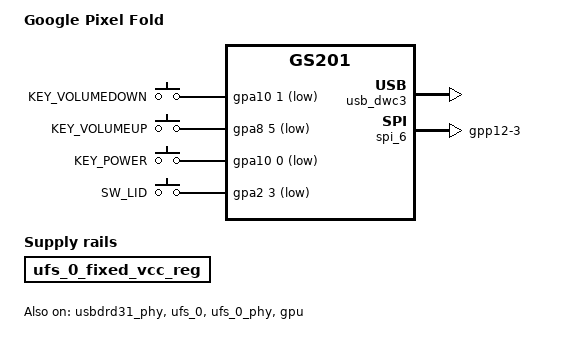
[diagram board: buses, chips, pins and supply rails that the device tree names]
// SPDX-License-Identifier: GPL-2.0-only
/*
 * Google Pixel Fold (felix).
 *
 * Same GS201 silicon as the Pixel 7 Pro. This board file brings up USB,
 * the cover framebuffer the bootloader is already scanning, UFS, the
 * GPU, the volume keys, the hinge hall sensor, the cover touch rails,
 * and the cover touch controller. The controller stays disabled until
 * a bring-up overlay enables it. This file does not describe either
 * panel or the inner touch controller. The inner splash is reserved
 * and described as a second simple framebuffer. It does not drive
 * the panel.
 */

/dts-v1/;

#include <dt-bindings/input/input.h>
#include "gs201.dtsi"

/ {
	model = "Google Pixel Fold";
	compatible = "google,gs201-felix", "google,gs201";

	/*
	 * ABL matches (product id 0x09855000 | major rev). This phone is
	 * GS201 MP1.0, package mode 0, SoC rev 2: the same B0 id as cheetah.
	 * The image packer appends a second DTB with 0x09855000.
	 */
	soc_id = <0x09855001 0x0>;

	chosen {
		/*
		 * ABL requires bootargs and appends its own, including
		 * console=null. Nothing here writes a display register. The
		 * cover framebuffer is the plane read from DPP2 (1080x2092 at
		 * 0xfc000000). The inner framebuffer is the plane read from DPP0
		 * (1840x2208 at 0xfac00000). The cover node stays first so it
		 * remains the first framebuffer device.
		 */
		bootargs = "console=tty0 panic=10 clk_ignore_unused pd_ignore_unused rdinit=/init";
		#address-cells = <2>;
		#size-cells = <1>;
		ranges;

		framebuffer0: framebuffer@fc000000 {
			compatible = "simple-framebuffer";
			memory-region = <&cont_splash_mem>;
			width = <1080>;
			height = <2092>;
			stride = <(1080 * 4)>;
			format = "a8r8g8b8";
		};

		framebuffer1: framebuffer@fac00000 {
			compatible = "simple-framebuffer";
			reg = <0x0 0xfac00000 (1840 * 2208 * 4)>;
			memory-region = <&inner_splash_mem>;
			width = <1840>;
			height = <2208>;
			stride = <(1840 * 4)>;
			format = "a8r8g8b8";
		};
	};

	reserved-memory {
		#address-cells = <2>;
		#size-cells = <1>;
		ranges;

		/*
		 * Inner splash. DECON0 scans 1840x2208 from here. Reserved so the
		 * kernel does not allocate it. The inner display node stays disabled.
		 */
		inner_splash_mem: splash@fac00000 {
			reg = <0x0 0xfac00000 (1840 * 2208 * 4)>;
			no-map;
		};

		cont_splash_mem: splash@fc000000 {
			reg = <0x0 0xfc000000 (1080 * 2092 * 4)>;
			no-map;
		};
	};

	/*
	 * UFS VCC. The bootloader leaves this rail on. There is no gs201
	 * GPIO driver yet, so describe it as an always-on fixed regulator,
	 * as on the Pixel 7 Pro.
	 */
	ufs_0_fixed_vcc_reg: regulator-ufs-vcc {
		compatible = "regulator-fixed";
		regulator-name = "ufs-vcc";
		regulator-always-on;
		regulator-boot-on;
	};

	/*
	 * Volume down is gpa10-1 with a pull-up. Volume up is gpa8-5 with
	 * no pull. Power is gpa10-0, the S2MPG12 PWRONB line, with a
	 * pull-up. The hinge hall is the factory hall_sensor on gpa2-3,
	 * active-low with no pull. All four are active-low. The PMIC's
	 * own long-press reset is unaffected.
	 */
	gpio-keys {
		compatible = "gpio-keys";
		pinctrl-names = "default";
		pinctrl-0 = <&key_voldown>, <&key_volup>, <&key_power>, <&hall_lid>;

		button-vol-down {
			label = "KEY_VOLUMEDOWN";
			linux,code = <KEY_VOLUMEDOWN>;
			gpios = <&gpa10 1 GPIO_ACTIVE_LOW>;
			wakeup-source;
		};

		button-vol-up {
			label = "KEY_VOLUMEUP";
			linux,code = <KEY_VOLUMEUP>;
			gpios = <&gpa8 5 GPIO_ACTIVE_LOW>;
			wakeup-source;
		};

		button-power {
			label = "KEY_POWER";
			linux,code = <KEY_POWER>;
			gpios = <&gpa10 0 GPIO_ACTIVE_LOW>;
			wakeup-source;
		};

		switch-lid {
			label = "SW_LID";
			linux,input-type = <EV_SW>;
			linux,code = <SW_LID>;
			gpios = <&gpa2 3 GPIO_ACTIVE_LOW>;
			linux,can-disable;
			wakeup-source;
		};
	};
};

&usbdrd31_phy {
	status = "okay";
};

&usb_dwc3 {
	status = "okay";
};

&ufs_0 {
	vcc-supply = <&ufs_0_fixed_vcc_reg>;
	status = "okay";
};

&ufs_0_phy {
	status = "okay";
};

&gpu {
	/* No mali-supply: the G3D rails follow the PMU power domain and ACPM. */
	status = "okay";
};

&pinctrl_gpio_alive {
	hall_lid: hall-lid-pins {
		samsung,pins = "gpa2-3";
		samsung,pin-function = <GS101_PIN_FUNC_EINT>;
		samsung,pin-pud = <GS101_PIN_PULL_NONE>;
	};
};

&acpm_ipc {
	/*
	 * Main PMIC, cover touch rails only. LDO25M is L25M_OUTER_TS_DVDD,
	 * fixed at 1.8 V, and LDO26M is L26M_OUTER_TS_AVDD, fixed at 3.3 V.
	 * The cover touch controller is their only stock consumer. The
	 * sub-PMIC is not described.
	 */
	s2mpg12: pmic-1 {
		compatible = "samsung,s2mpg12-pmic";
		interrupts = <GIC_SPI 72 IRQ_TYPE_LEVEL_HIGH>;
		google,vgpio2ap-sysreg = <&sysreg_vgpio2ap>;
		wakeup-source;
		status = "disabled";

		/* No meter channels described: the MFD core leaves the meter out. */
		power-meter {
			compatible = "samsung,s2mpg12-meter";
			#address-cells = <1>;
			#size-cells = <0>;
			status = "disabled";
		};

		regulators {
			ldo25m: ldo25m {
				regulator-name = "vdd-outer-ts";
				regulator-min-microvolt = <1800000>;
				regulator-max-microvolt = <1800000>;
			};

			ldo26m: ldo26m {
				regulator-name = "avdd-outer-ts";
				regulator-min-microvolt = <3300000>;
				regulator-max-microvolt = <3300000>;
			};
		};
	};
};

&pinctrl_far_alive {
	cover_ts_irq: cover-ts-irq-pins {
		samsung,pins = "gpa6-7";
		samsung,pin-function = <GS101_PIN_FUNC_EINT>;
		samsung,pin-pud = <GS101_PIN_PULL_NONE>;
		samsung,pin-drv = <GS101_PIN_DRV_2_5_MA>;
	};
};

&pinctrl_peric0 {
	cover_ts_spi_cs: cover-ts-spi-cs-pins {
		samsung,pins = "gpp12-3";
		samsung,pin-function = <GS101_PIN_FUNC_OUTPUT>;
		samsung,pin-pud = <GS101_PIN_PULL_NONE>;
		samsung,pin-drv = <GS101_PIN_DRV_2_5_MA>;
	};
};

&spi6_bus {
	samsung,pin-drv = <GS101_PIN_DRV_5_MA>;
};

&pinctrl_peric1 {
	cover_ts_reset: cover-ts-reset-pins {
		samsung,pins = "gpp23-3";
		samsung,pin-pud = <GS101_PIN_PULL_NONE>;
		samsung,pin-con-pdn = <GS101_PIN_PDN_PREV>;
		samsung,pin-pud-pdn = <GS101_PIN_PULL_NONE>;
	};
};

/*
 * Cover touch: ST SALIXP (chip id 0x36 0x40) on USI6 SPI. USI6, SPI6 and
 * PERIC0 stay disabled in the SoC file. The touchscreen node stays
 * disabled here. A bring-up overlay enables that path and the main
 * PMIC, and the driver switches LDO25M and LDO26M. There is no
 * regulator-always-on. The inner touch controller is not described.
 */
&usi6 {
	samsung,mode = <USI_MODE_SPI>;
};

&spi_6 {
	pinctrl-0 = <&spi6_bus &cover_ts_spi_cs>;
	cs-gpios = <&gpp12 3 GPIO_ACTIVE_LOW>;
	num-cs = <1>;

	cover_touch: touchscreen@0 {
		compatible = "st,salixp";
		reg = <0>;
		spi-max-frequency = <10000000>;
		/* 2 µs from chip select asserted to the first clock. */
		spi-cs-setup-delay-ns = <2000>;
		interrupt-parent = <&gpa6>;
		interrupts = <7 IRQ_TYPE_LEVEL_LOW>;
		vdd-supply = <&ldo25m>;
		avdd-supply = <&ldo26m>;
		reset-gpios = <&gpp23 3 GPIO_ACTIVE_LOW>;
		touchscreen-size-x = <1080>;
		touchscreen-size-y = <2092>;
		pinctrl-names = "default";
		pinctrl-0 = <&cover_ts_irq &cover_ts_reset>;
		status = "disabled";

		controller-data {
			samsung,spi-feedback-delay = <1>;
		};
	};
};
